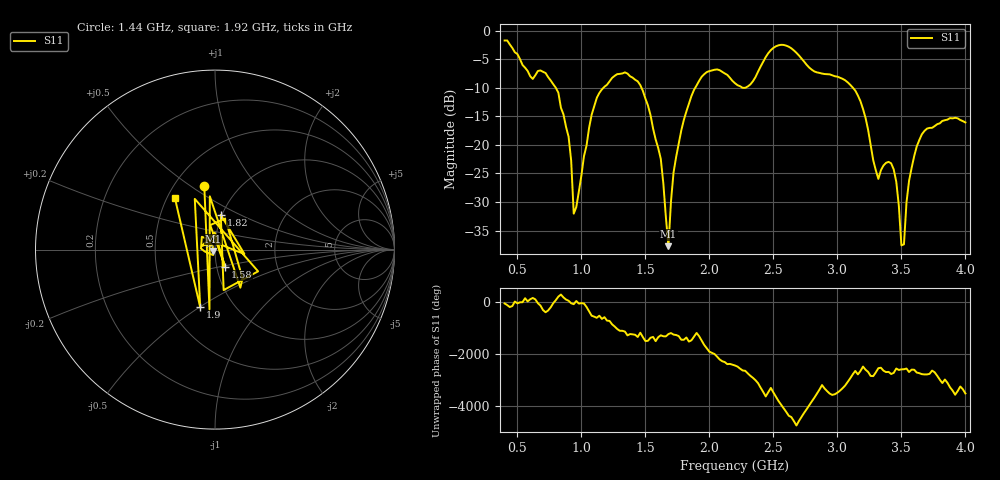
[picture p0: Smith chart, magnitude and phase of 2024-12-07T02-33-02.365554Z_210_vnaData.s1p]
!Created with skrf (http://scikit-rf.org).
# Hz S RI R 50.0
!freq ReS11 ImS11
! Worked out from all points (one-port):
!   181 points, 400 MHz to 4 GHz, reference 50 ohm
!   lowest |S11| = -37.7 dB at 1.68 GHz (marker M1), VSWR 1.03, Z = 48.9 - j0.681 ohm
!   |S11| at or under -10 dB: 800.6 MHz to 1.171 GHz (370.8 MHz wide, 37.6 % of centre); 1.47 GHz to 1.889 GHz (418.9 MHz wide, 24.9 % of centre); 3.122 GHz to end of sweep
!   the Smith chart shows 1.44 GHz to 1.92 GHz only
!   S11 on the Smith chart (normalised r, x): 1.44 GHz: 0.70, +0.57; 1.58 GHz: 1.10, -0.21; 1.82 GHz: 0.99, +0.40; 1.9 GHz: 0.70, -0.50; 1.92 GHz: 0.55, +0.36
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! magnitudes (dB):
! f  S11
! 400 MHz  -1.7
! 620 MHz  -8.4
! 720 MHz  -7.4
! 860 MHz  -14.7
! 920 MHz  -22.7
! 940 MHz  -32.0
! 1.12 GHz  -11.8
! 1.3 GHz  -7.5
! 1.44 GHz  -8.8
! 1.58 GHz  -19.0
! 1.62 GHz  -22.4
! 1.68 GHz  -37.7
! 1.72 GHz  -24.8
! 1.76 GHz  -19.8
! 1.82 GHz  -14.1
! 1.9 GHz  -9.6
! 1.92 GHz  -8.8
! 2.2 GHz  -9.2
! 2.66 GHz  -3.4
! 3.1 GHz  -9.4
! 3.2 GHz  -13.7
! 3.32 GHz  -25.9
! 3.44 GHz  -24.3
! 3.5 GHz  -37.6
! 3.52 GHz  -37.4
! 3.56 GHz  -26.3
! 3.68 GHz  -17.5
! 4 GHz  -16.1
